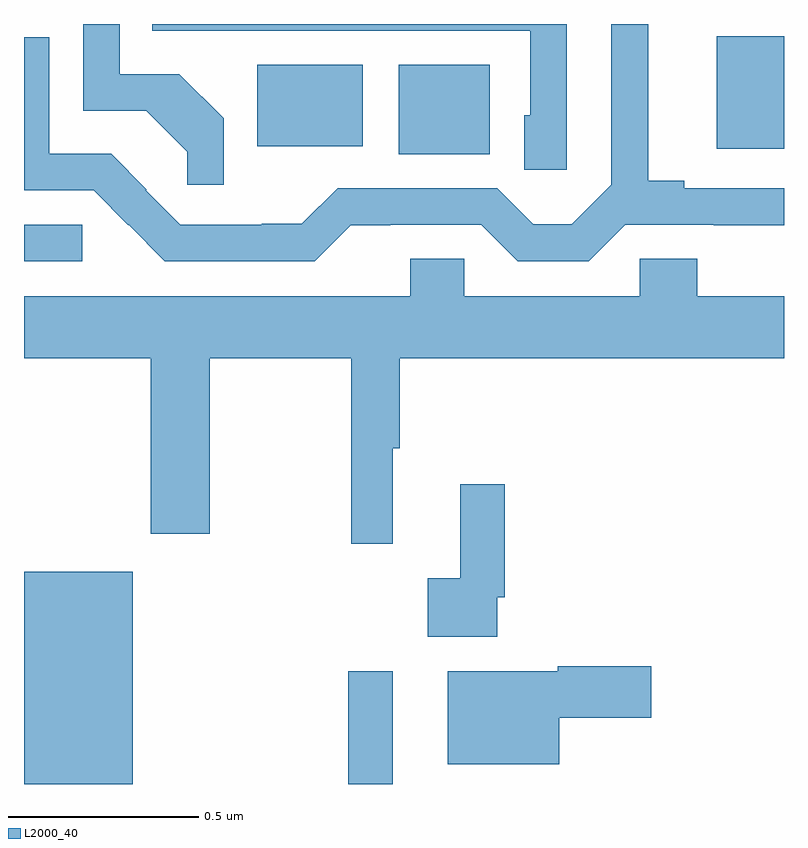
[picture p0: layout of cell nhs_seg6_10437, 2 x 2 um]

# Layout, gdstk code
import gdstk
lib = gdstk.Library(unit=1e-6, precision=1e-09)
def R(c, l, rs):  # rectangles x0, y0, x1, y1
    for r in rs: c.add(gdstk.rectangle(r[:2], r[2:], *l))
def P(c, l, *ps):  # polygons
    for p in ps: c.add(gdstk.Polygon(p, *l))
L2000_40 = (2000, 40)

nhs_seg6_10437 = lib.new_cell('nhs_seg6_10437')
R(nhs_seg6_10437, L2000_40, [(246,995.5,246.286,996.058), (246.853,995.5,246.97,995.797), (246,996.876,246.153,996.972), (246.986,997.157,247.225,997.393), (247.823,997.172,248,997.468), (246.614,997.178,246.892,997.393)])
P(nhs_seg6_10437, L2000_40, [(246.525,997.252),(246.409,997.368),(246.252,997.368),(246.252,997.5),(246.156,997.5),(246.156,997.272),(246.322,997.272),(246.43,997.164),(246.43,997.077),(246.525,997.077)],
  [(247.428,997.5),(246.337,997.5),(246.337,997.482),(247.332,997.482),(247.332,997.26),(247.316,997.26),(247.316,997.117),(247.428,997.117)],
  [(246.86,996.971),(246.964,996.971),(246.964,996.972),(247.203,996.972),(247.299,996.876),(247.486,996.876),(247.582,996.972),(247.815,996.972),(247.815,996.971),(248,996.971),(248,997.068),(247.738,997.068),(247.738,997.088),(247.643,997.088),(247.643,997.5),(247.545,997.5),(247.545,997.077),(247.441,996.973),(247.34,996.973),(247.245,997.068),(246.825,997.068),(246.731,996.974),(246.626,996.974),(246.626,996.972),(246.411,996.972),(246.321,997.062),(246.323,997.064),(246.229,997.158),(246.066,997.158),(246.066,997.465),(246,997.465),(246,997.062),(246.183,997.062),(246.274,996.971),(246.275,996.972),(246.371,996.876),(246.765,996.876)],
  [(246,996.62),(246.334,996.62),(246.334,996.159),(246.489,996.159),(246.489,996.62),(246.861,996.62),(246.861,996.132),(246.971,996.132),(246.971,996.384),(246.989,996.384),(246.989,996.62),(248,996.62),(248,996.784),(247.772,996.784),(247.772,996.882),(247.62,996.882),(247.62,996.784),(247.158,996.784),(247.158,996.882),(247.016,996.882),(247.016,996.784),(246,996.784)],
  [(247.245,995.992),(247.265,995.992),(247.265,996.289),(247.148,996.289),(247.148,996.041),(247.062,996.041),(247.062,995.888),(247.245,995.888)],
  [(247.408,995.675),(247.651,995.675),(247.651,995.81),(247.404,995.81),(247.404,995.797),(247.115,995.797),(247.115,995.552),(247.408,995.552)])

lib.write_gds('nhs_seg6_10437.gds')
